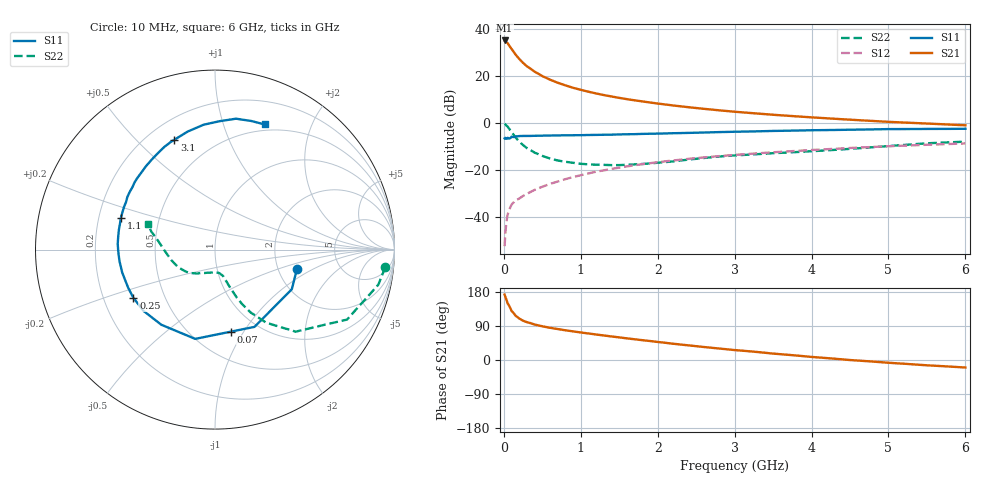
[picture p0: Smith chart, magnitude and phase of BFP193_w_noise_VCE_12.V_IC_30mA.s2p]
! Infineon Technologies  Discrete & RF Semiconductors
! BFP193
! VCE =  12. V,  IC =  30 mA
! Common Emitter S-Parameters:  Jan 2017
# GHz  S  MA  R  50
!  f  S11  S21  S12  S22
! GHz  MAG  ANG  MAG  ANG  MAG  ANG  MAG  ANG
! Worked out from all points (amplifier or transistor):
!   77 points, 10 MHz to 6 GHz, reference 50 ohm
!   highest |S21| = 35.0 dB at 10 MHz (marker M1)
!   |S21| within 3 dB of that: start of sweep to 87.05 MHz
!   unconditionally stable (mu >= 1): 794.2 MHz to 2.531 GHz
!   at 130 MHz: K = 0.45, MSG = 31.9 dB, |S12| = -33.7 dB
!   at 2.2 GHz: K = 1.02, MAG = 10.9 dB, |S12| = -16.0 dB
!   at 6 GHz: K = 0.89, MSG = 3.9 dB, |S12| = -8.7 dB
!   lowest NFmin = 1.22 dB at 450 MHz
!   S11 on the Smith chart (normalised r, x): 10 MHz: 2.54, -0.71; 70 MHz: 0.75, -0.88; 250 MHz: 0.33, -0.25; 1.1 GHz: 0.29, +0.15; 3.1 GHz: 0.31, +0.65; 6 GHz: 0.43, +1.38
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0.01  0.4691 -13.4  56.53 172.5  0.0024 65.0  0.954 -5.9
0.02  0.4816 -27.3  55.97 166.4  0.0047 85.7  0.9309 -12.1
0.05  0.4835 -62.9  49.21 149.3  0.0114 66.1  0.8329 -27.9
0.07  0.4656 -79.1  43.93 142.7  0.0141 62.4  0.7482 -33.8
0.1  0.5095 -102.5  37.49 129.5  0.0183 59.0  0.641 -45.5
0.15  0.5146 -125.6  28.67 117.3  0.0224 54.2  0.4952 -55.1
0.2  0.5248 -139.4  22.86 109.5  0.0247 54.0  0.4019 -60.5
0.25  0.5282 -149.4  18.86 103.7  0.0281 54.2  0.3377 -63.6
0.3  0.5285 -156.2  15.97 99.8  0.031 55.9  0.2911 -65.7
0.4  0.5326 -166.1  12.25 93.5  0.0377 58.8  0.2334 -68.0
0.5  0.5361 -173.2  9.888 88.9  0.0439 60.4  0.1992 -69.7
0.6  0.5392 -178.9  8.314 85.0  0.0505 61.7  0.1752 -71.2
0.7  0.543 176.5  7.145 81.7  0.0567 63.1  0.1589 -72.3
0.9  0.5468 168.3  5.578 75.5  0.0705 63.3  0.142 -76.4
1.1  0.5536 161.3  4.599 70.0  0.0844 63.1  0.1316 -80.9
1.5  0.5695 149.0  3.4 59.7  0.112 60.3  0.1268 -94.4
2.1  0.5971 132.1  2.461 45.4  0.1525 54.5  0.1468 -117.4
2.6  0.6248 120.5  1.991 34.3  0.1849 49.0  0.1796 -132.9
3.1  0.6527 110.3  1.677 24.6  0.2145 43.3  0.2077 -145.4
4.1  0.7013 93.7  1.282 6.6  0.2707 32.3  0.2555 -169.1
5.1  0.7391 79.6  1.036 -8.6  0.3236 21.1  0.3308 169.5
6  0.7501 68.4  0.89 -19.9  0.3661 11.2  0.3998 159.1
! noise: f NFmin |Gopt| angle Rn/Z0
0.45  1.22  0.33  -174  0.08
0.9  1.27  0.38  -173  0.07
1.9  1.89  0.57  -137  0.17
2.4  2.22  0.62  -121  0.38
